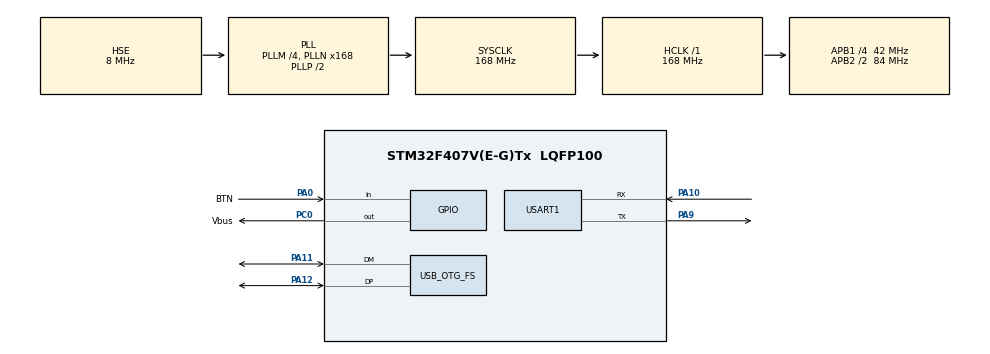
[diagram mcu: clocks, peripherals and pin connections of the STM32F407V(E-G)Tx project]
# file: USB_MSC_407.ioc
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FATFS._FS_RPATH=2
FATFS._MAX_SS=4096
FATFS._USE_CHMOD=1
FREERTOS.Tasks01=defaultTask,0,128,StartDefaultTask,Default,NULL,Dynamic,NULL,NULL;my_USB_Task,-3,1024,Start_USB_Task,Default,NULL,Dynamic,NULL,NULL
FREERTOS.configUSE_NEWLIB_REENTRANT=1
Mcu.Family=STM32F4
Mcu.Name=STM32F407V(E-G)Tx
Mcu.Package=LQFP100
NVIC.OTG_FS_IRQn=true\:5\:0\:false\:false\:true\:true\:true\:true\:true
NVIC.PriorityGroup=NVIC_PRIORITYGROUP_4
NVIC.TIM8_TRG_COM_TIM14_IRQn=true\:15\:0\:false\:false\:true\:false\:false\:true\:true
NVIC.TimeBase=TIM8_TRG_COM_TIM14_IRQn
NVIC.TimeBaseIP=TIM14
PA0-WKUP.GPIO_Label=BTN
PA0-WKUP.GPIO_PuPd=GPIO_PULLUP
PA0-WKUP.Signal=GPIO_Input
PA10.Mode=Asynchronous
PA10.Signal=USART1_RX
PA11.Mode=Host_Only
PA11.Signal=USB_OTG_FS_DM
PA12.Mode=Host_Only
PA12.Signal=USB_OTG_FS_DP
PA13.Mode=Serial_Wire
PA13.Signal=SYS_JTMS-SWDIO
PA14.Mode=Serial_Wire
PA14.Signal=SYS_JTCK-SWCLK
PA9.Mode=Asynchronous
PA9.Signal=USART1_TX
PC0.GPIO_Label=Vbus
PC0.GPIO_Speed=GPIO_SPEED_FREQ_VERY_HIGH
PC0.Signal=GPIO_Output
PH0-OSC_IN.Mode=HSE-External-Oscillator
PH0-OSC_IN.Signal=RCC_OSC_IN
PH1-OSC_OUT.Mode=HSE-External-Oscillator
PH1-OSC_OUT.Signal=RCC_OSC_OUT
ProjectManager.HeapSize=0x200
ProjectManager.StackSize=0x400
ProjectManager.TargetToolchain=STM32CubeIDE
RCC.48MHZClocksFreq_Value=48000000
RCC.AHBFreq_Value=168000000
RCC.APB1CLKDivider=RCC_HCLK_DIV4
RCC.APB1Freq_Value=42000000
RCC.APB1TimFreq_Value=84000000
RCC.APB2CLKDivider=RCC_HCLK_DIV2
RCC.APB2Freq_Value=84000000
RCC.APB2TimFreq_Value=168000000
RCC.CortexFreq_Value=168000000
RCC.HCLKFreq_Value=168000000
RCC.HSE_VALUE=8000000
RCC.HSI_VALUE=16000000
RCC.LSE_VALUE=32768
RCC.PLLM=4
RCC.PLLN=168
RCC.PLLQ=7
RCC.SYSCLKFreq_VALUE=168000000
RCC.SYSCLKSource=RCC_SYSCLKSOURCE_PLLCLK
RCC.VCOOutputFreq_Value=336000000
USART1.VirtualMode=VM_ASYNC
USB_HOST.BSP.number=1
USB_HOST.USBH_HandleTypeDef-MSC_FS=hUsbHostFS
USB_HOST.USBH_PROCESS_STACK_SIZE-MSC_FS=8*128
USB_HOST.USBH_USE_OS-MSC_FS=0
USB_HOST.VirtualModeFS=Msc
USB_HOST0.BSP.STBoard=false
USB_HOST0.BSP.api=Unknown
USB_HOST0.BSP.instance=PC0
USB_HOST0.BSP.ip=GPIO
USB_HOST0.BSP.mode=Output
USB_HOST0.BSP.name=Drive_VBUS_FS
USB_HOST0.BSP.solution=PC0
USB_OTG_FS.VirtualMode=Host_Only
USB_OTG_FS.phy_itface=HCD_PHY_EMBEDDED
VP_FATFS_VS_USB.Mode=USB
VP_FREERTOS_VS_CMSIS_V1.Mode=CMSIS_V1
VP_SYS_VS_tim14.Mode=TIM14
VP_USB_HOST_VS_USB_HOST_MSC_FS.Mode=MSC_FS
board=custom

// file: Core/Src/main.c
/* USER CODE BEGIN Header */
/**
 ******************************************************************************
 * @file           : main.c
 * @brief          : Main program body
 ******************************************************************************
 * @attention
 *
 * Copyright (c) 2023 STMicroelectronics.
 * All rights reserved.
 *
 * This software is licensed under terms that can be found in the LICENSE file
 * in the root directory of this software component.
 * If no LICENSE file comes with this software, it is provided AS-IS.
 *
 ******************************************************************************
 */
/* USER CODE END Header */
#include "main.h"
#include "cmsis_os.h"
#include "fatfs.h"
#include "usb_host.h"

/* USER CODE BEGIN Includes */
#include <stdio.h> /* для printf */

int btn_prev = 0; /*предыдущее состояние кнопки*/
int btn_cur = 0; /*текущее состояние кнопки*/
int i = 0;
unsigned long Tbtn;

uint8_t f_idle = 0;
uint8_t f_start = 0;
uint8_t f_ready = 0;
uint8_t f_disconnect = 0;
/* USER CODE END Includes */

/* USER CODE BEGIN PTD */
extern ApplicationTypeDef Appli_state;
/* USER CODE END PTD */

UART_HandleTypeDef huart1;

osThreadId defaultTaskHandle;
osThreadId my_USB_TaskHandle;
/* USER CODE BEGIN PV */
extern uint8_t retUSBH; /* Return value for USBH */
extern char USBHPath[4]; /* USBH logical drive path */
extern FATFS USBHFatFS; /* File system object for USBH logical drive */
extern FIL USBHFile; /* File object for USBH */
FRESULT RES;
UINT Byteswritten;
int Dir_flag;
char hold[100];
/* USER CODE END PV */

void SystemClock_Config(void);
static void MX_GPIO_Init(void);
static void MX_USART1_UART_Init(void);
void StartDefaultTask(void const *argument);
void Start_USB_Task(void const *argument);

/* USER CODE BEGIN PFP */
int _write(int file, char *ptr, int len) {
	int i;
	HAL_UART_Transmit(&huart1, (uint8_t*) ptr, len, 50);
	for (i = 0; i < len; i++) {
		ITM_SendChar(*ptr++);
	}
	return len;
}
/* USER CODE END PFP */

int main(void) {

	/* MCU Configuration--------------------------------------------------------*/

	/* Reset of all peripherals, Initializes the Flash interface and the Systick. */
	HAL_Init();

	/* Configure the system clock */
	SystemClock_Config();

	/* Initialize all configured peripherals */
	MX_GPIO_Init();
	MX_USART1_UART_Init();
	MX_FATFS_Init();
	/* USER CODE BEGIN 2 */
	printf("Hello world! \r\n");
	/* USER CODE END 2 */

	/* Create the thread(s) */
	/* definition and creation of defaultTask */
	osThreadDef(defaultTask, StartDefaultTask, osPriorityNormal, 0, 128);
	defaultTaskHandle = osThreadCreate(osThread(defaultTask), NULL);

	/* definition and creation of my_USB_Task */
	osThreadDef(my_USB_Task, Start_USB_Task, osPriorityIdle, 0, 1024);
	my_USB_TaskHandle = osThreadCreate(osThread(my_USB_Task), NULL);

	/* Start scheduler */
	osKernelStart();
	/* We should never get here as control is now taken by the scheduler */
	/* Infinite loop */
	while (1) {

	}
}

void SystemClock_Config(void) {
	RCC_OscInitTypeDef RCC_OscInitStruct = { 0 };
	RCC_ClkInitTypeDef RCC_ClkInitStruct = { 0 };

	/** Configure the main internal regulator output voltage
	 */
	__HAL_RCC_PWR_CLK_ENABLE();
	__HAL_PWR_VOLTAGESCALING_CONFIG(PWR_REGULATOR_VOLTAGE_SCALE1);

	/** Initializes the RCC Oscillators according to the specified parameters
	 * in the RCC_OscInitTypeDef structure.
	 */
	RCC_OscInitStruct.OscillatorType = RCC_OSCILLATORTYPE_HSE;
	RCC_OscInitStruct.HSEState = RCC_HSE_ON;
	RCC_OscInitStruct.PLL.PLLState = RCC_PLL_ON;
	RCC_OscInitStruct.PLL.PLLSource = RCC_PLLSOURCE_HSE;
	RCC_OscInitStruct.PLL.PLLM = 4;
	RCC_OscInitStruct.PLL.PLLN = 168;
	RCC_OscInitStruct.PLL.PLLP = RCC_PLLP_DIV2;
	RCC_OscInitStruct.PLL.PLLQ = 7;
	if (HAL_RCC_OscConfig(&RCC_OscInitStruct) != HAL_OK) {
		Error_Handler();
	}

	/** Initializes the CPU, AHB and APB buses clocks
	 */
	RCC_ClkInitStruct.ClockType = RCC_CLOCKTYPE_HCLK | RCC_CLOCKTYPE_SYSCLK
			| RCC_CLOCKTYPE_PCLK1 | RCC_CLOCKTYPE_PCLK2;
	RCC_ClkInitStruct.SYSCLKSource = RCC_SYSCLKSOURCE_PLLCLK;
	RCC_ClkInitStruct.AHBCLKDivider = RCC_SYSCLK_DIV1;
	RCC_ClkInitStruct.APB1CLKDivider = RCC_HCLK_DIV4;
	RCC_ClkInitStruct.APB2CLKDivider = RCC_HCLK_DIV2;

	if (HAL_RCC_ClockConfig(&RCC_ClkInitStruct, FLASH_LATENCY_5) != HAL_OK) {
		Error_Handler();
	}
}

static void MX_USART1_UART_Init(void) {

	huart1.Instance = USART1;
	huart1.Init.BaudRate = 115200;
	huart1.Init.WordLength = UART_WORDLENGTH_8B;
	huart1.Init.StopBits = UART_STOPBITS_1;
	huart1.Init.Parity = UART_PARITY_NONE;
	huart1.Init.Mode = UART_MODE_TX_RX;
	huart1.Init.HwFlowCtl = UART_HWCONTROL_NONE;
	huart1.Init.OverSampling = UART_OVERSAMPLING_16;
	if (HAL_UART_Init(&huart1) != HAL_OK) {
		Error_Handler();
	}

}

static void MX_GPIO_Init(void) {
	GPIO_InitTypeDef GPIO_InitStruct = { 0 };

	/* GPIO Ports Clock Enable */
	__HAL_RCC_GPIOH_CLK_ENABLE();
	__HAL_RCC_GPIOC_CLK_ENABLE();
	__HAL_RCC_GPIOA_CLK_ENABLE();

	/*Configure GPIO pin Output Level */
	HAL_GPIO_WritePin(Vbus_GPIO_Port, Vbus_Pin, GPIO_PIN_RESET);

	/*Configure GPIO pin : Vbus_Pin */
	GPIO_InitStruct.Pin = Vbus_Pin;
	GPIO_InitStruct.Mode = GPIO_MODE_OUTPUT_PP;
	GPIO_InitStruct.Pull = GPIO_NOPULL;
	GPIO_InitStruct.Speed = GPIO_SPEED_FREQ_VERY_HIGH;
	HAL_GPIO_Init(Vbus_GPIO_Port, &GPIO_InitStruct);

	/*Configure GPIO pin : BTN_Pin */
	GPIO_InitStruct.Pin = BTN_Pin;
	GPIO_InitStruct.Mode = GPIO_MODE_INPUT;
	GPIO_InitStruct.Pull = GPIO_PULLUP;
	HAL_GPIO_Init(BTN_GPIO_Port, &GPIO_InitStruct);

}

void StartDefaultTask(void const *argument) {
	/* init code for USB_HOST */
	MX_USB_HOST_Init();
	/* USER CODE BEGIN 5 */
	/* Infinite loop */
	for (;;) {

		osDelay(100);
	}
	/* USER CODE END 5 */
}

void Start_USB_Task(void const *argument) {
	/* USER CODE BEGIN Start_USB_Task */
	/* Infinite loop */
	for (;;) {
		switch (Appli_state) {
		case APPLICATION_IDLE:
			if (f_idle == 0) {
				printf("APPLICATION_IDLE! \r\n");
				f_idle = 1;
				f_start = 0;
				f_ready = 0;
				f_disconnect = 0;
			}
			osDelay(100);
			break;
		case APPLICATION_START:
			if (f_mount(&USBHFatFS, (const TCHAR*) USBHPath, 0) == FR_OK) {
				if (f_start == 0) {
					printf("APPLICATION_START! \r\n");
					f_idle = 0;
					f_start = 1;
					f_ready = 0;
					f_disconnect = 0;
				}
			}
			break;
		case APPLICATION_READY:
			if (f_mkdir((const TCHAR*) "ZERG") == FR_OK) {
				if (f_chdir("ADC") == FR_OK) {
					if (f_ready == 0) {
						printf("Falder 'ZERG' is CREATED! \r\n");
						f_idle = 0;
						f_start = 0;
						f_ready = 1;
						f_disconnect = 0;
					}
				}
			}

			btn_cur = HAL_GPIO_ReadPin(BTN_GPIO_Port, BTN_Pin);/*Считываем состояние кнопки*/
			if ((btn_prev == 0) && (btn_cur != 0))/* т.е. кнопка нажата */
			{
				if (HAL_GetTick() - Tbtn >= 300) {
					i++;

					if (f_open(&USBHFile, (const TCHAR*) "ZERG/SWARM.TXT",
							FA_WRITE | FA_OPEN_APPEND) == FR_OK) {
						//sprintf(hold, "%s", "SWARM VALUES NOT PRESENT! \r\n");
						sprintf(hold, "SWARM i = %d\r\n", i);
						RES = f_write(&USBHFile, (const void*) hold,strlen(hold), &Byteswritten);
						if (RES != FR_OK || Byteswritten == 0) {
							printf("RES is NOT OK! \r\n");
						} else {
//					for(int n=0;n<3;n++) // Несколько раз маргнем.
//					{
//						HAL_GPIO_WritePin(LED_GPIO_Port, LED_Pin, GPIO_PIN_SET); // Flash status
//						HAL_Delay(250);
//						HAL_GPIO_WritePin(LED_GPIO_Port, LED_Pin, GPIO_PIN_RESET); // Flash status
//						HAL_Delay(250);
//					}
							printf("An entry has been added, i = %d \r\n", i);
						}
					}
					f_close(&USBHFile);

					Tbtn = HAL_GetTick();
				}
			}
			btn_prev = btn_cur;/*Запоминаем текущее состояние кнопки */
			if (f_ready == 0) {
				printf("APPLICATION_READY! \r\n");
				f_idle = 0;
				f_start = 0;
				f_ready = 1;
				f_disconnect = 0;
			}
			break;
		case APPLICATION_DISCONNECT:
			if (f_disconnect == 0) {
				printf("APPLICATION_DISCONNECT! \r\n");
				f_idle = 0;
				f_start = 0;
				f_ready = 0;
				f_disconnect = 1;
			}
			osDelay(100);
			break;
		default:
			/* do nothing */
			break;
		}
//    osDelay(1);
	}
	/* USER CODE END Start_USB_Task */
}

void HAL_TIM_PeriodElapsedCallback(TIM_HandleTypeDef *htim) {
	if (htim->Instance == TIM14) {
		HAL_IncTick();
	}
}

void Error_Handler(void) {
	__disable_irq();
	while (1) {
	}
}
